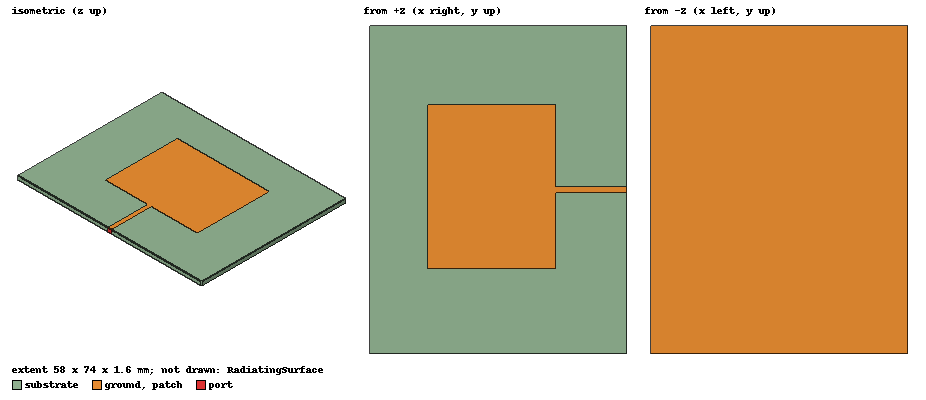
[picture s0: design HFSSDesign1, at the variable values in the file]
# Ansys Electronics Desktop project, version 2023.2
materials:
  vacuum: permittivity=1
  FR4_epoxy: permittivity=4.4 dielectric_loss_tangent=0.02

design HFSSDesign1 (HFSS, HFSS Modal Network, model units mm)
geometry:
  ground = rectangle(corner=(0mm, 0mm, 0mm), x_size=58mm, y_size=74mm)
  substrate [FR4_epoxy] = box(corner=(0mm, 0mm, 0mm), size=(58mm, 74mm, 1.6mm))
  feed = rectangle(corner=(58mm, 36.25mm, 1.6mm), x_size=-16mm, y_size=1.5mm)
  patch = rectangle(corner=(42mm, 19.25mm, 1.6mm), x_size=-29mm, y_size=37mm)
  patch.unite(feed)
  port = rectangle(corner=(58mm, 36.25mm, 1.6mm), y_size=1.5mm, z_size=-1.6mm)
  RadiatingSurface [vacuum] = region(absolute_offset=40.816327mm on all sides)
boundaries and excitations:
  PerfE1: Perfect E Objects=patch
  PerfE2: Perfect E Objects=ground
  Open1: Radiation Objects=RadiatingSurface
  1: Lumped Port Objects=port LumpedPortType=Modal Modes{Mode1{IntLine{(58, 37, 0) -> (58, 37, 1.6)} CharImp=Zpi RenormImp=50ohm}} Impedance=50ohm
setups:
  Setup1: HfssDriven Frequency=2.45GHz MaxDeltaS=0.02 MaximumPasses=10 MinimumPasses=1 MinimumConvergedPasses=1 PercentRefinement=30 BasisOrder=1 PortAccuracy=2 DrivenSolverType="Direct Solver"
    sweep Sweep: 1GHz to 5GHz, 401 points; Type=Interpolating InterpTolerance=0.5 InterpMaxSolns=250 InterpUsePortImped=false PassivityErrorTolerance=0.0001
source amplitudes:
  1:1: 1W 0deg
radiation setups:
  3D: Infinite Sphere Theta=0deg..180deg step 2deg Phi=-180deg..180deg step 2deg
  Elevation: Infinite Sphere Theta=-180deg..180deg step 1deg Phi=0deg..90deg step 90deg
  Azimuth: Infinite Sphere Theta=90deg..90deg step 0deg Phi=-180deg..180deg step 1deg
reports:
  S Parameter Plot 1: dB(S(1,1)) vs Freq on Setup1 : Sweep
  S Parameter Plot 2: dB(S(1,1)) vs Freq on Setup1 : Sweep; markers m1 at 2.36GHz
  Gain Plot 1: dB(GainTotal) vs Phi, Theta on Setup1 : LastAdaptive, 3D [Freq=2.45GHz]
